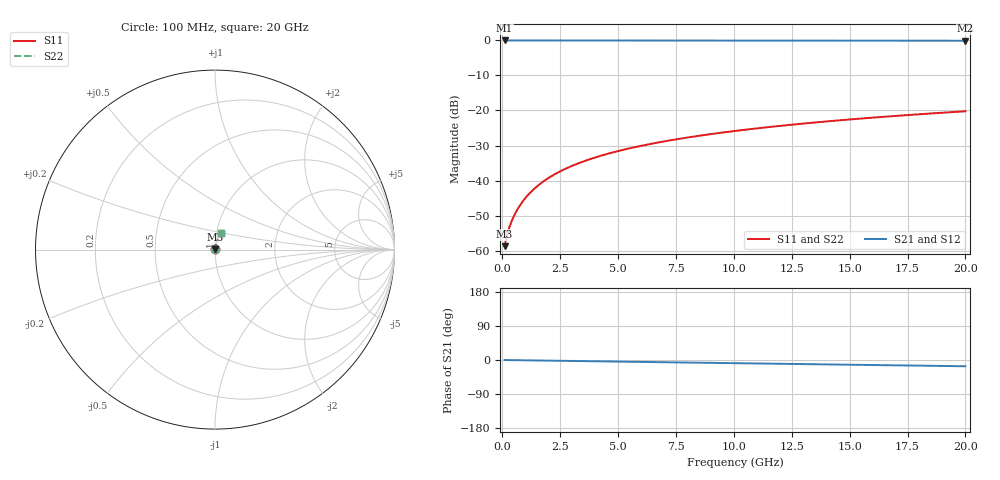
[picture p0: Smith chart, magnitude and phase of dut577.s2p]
! Touchstone file exported from HFSS 2026.1.0
!  File:  C:/ffzhzh/LocalFiles/Ansys_Project_Files/temp_train_BSMRDL_577_1783015630_46388.aedt
!  Generated:  02:08:27 AM Jul  3, 2026
!  Design:  BSMRDL
!  Project:  temp_train_BSMRDL_577_1783015630_46388
! Variables:
!  h_bsmrdl = 4.22um
!  h_ox = 20um
!  h_rdl = 5um
!  h_sub = 80um
!  h_tmrdl = 5um
!  h_tsv = 80um
!  h_via = 3um
!  l_bsmrdl = 249.43um
!  l_sub = 649.43um
!  l_tmrdl = 200um
!  m_sub = 200um
!  pitch = 43.42um
!  r_tsv = 6um
!  s_tmrdl = 10um
!  w_bsmrdl = 29.83um
!  w_sub = 500um
!  w_tmrdl = 12um
!  x_tsv_center1 = 206um
!  x_tsv_center2 = 485.26um
!  x_tsv_center3 = 697.26um
!  x_tsv_center4 = 976.52um
!  x_tsv_center5 = 1188.52um
!  x_tsv_center6 = 1467.78um
# GHz S MA R 50.000000
! Terminal data exported
! Port[1] = BSM_RDL1_1_T1
! Port[2] = BSM_RDL1_1_T2
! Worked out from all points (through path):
!   200 points, 100 MHz to 20 GHz, reference 50 ohm
!   highest |S21| = -0.01 dB at 100 MHz (marker M1); lowest = -0.1 dB at 20 GHz (marker M2)
!   group delay of S21, straight-line fit = 2.29 ps
!   lowest |S11| = -58.7 dB at 100 MHz (marker M3), VSWR 1.00, Z = 50.1 + j0.0677 ohm
!   |S11| at or under -10 dB: start of sweep to end of sweep
!   |S22| runs from -58.7 to -20.2 dB; largest |S21 - S12| = 3.1e-15
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0.1  0.001158 35.7  0.9991 -0.1  0.9991 -0.1  0.001158 35.7
! Gamma 0 0 0 0
! Port Impedance 50 0 50 0
0.2  0.001644 50.5  0.999 -0.2  0.999 -0.2  0.001644 50.5
0.3  0.002132 58.0  0.9989 -0.3  0.9989 -0.3  0.002132 58.0
0.4  0.002617 63.0  0.9988 -0.4  0.9988 -0.4  0.002617 63.0
0.5  0.003106 66.6  0.9988 -0.4  0.9988 -0.4  0.003106 66.6
0.6  0.003603 69.4  0.9987 -0.5  0.9987 -0.5  0.003603 69.4
0.8  0.004619 73.2  0.9987 -0.7  0.9987 -0.7  0.004619 73.2
1.1  0.006176 76.6  0.9986 -0.9  0.9986 -0.9  0.006176 76.6
1.3  0.007225 78.0  0.9986 -1.1  0.9986 -1.1  0.007225 78.0
1.6  0.008806 79.3  0.9985 -1.4  0.9985 -1.4  0.008806 79.3
2.1  0.01144 80.4  0.9984 -1.8  0.9984 -1.8  0.01144 80.4
2.7  0.01459 81.0  0.9982 -2.3  0.9982 -2.3  0.01459 81.0
3.5  0.01874 81.0  0.9979 -3.0  0.9979 -3.0  0.01874 81.0
4.2  0.02232 80.8  0.9976 -3.6  0.9976 -3.6  0.02232 80.8
5  0.02636 80.5  0.9972 -4.2  0.9972 -4.2  0.02636 80.5
5.9  0.03086 80.0  0.9968 -5.0  0.9968 -5.0  0.03086 80.0
6.8  0.0353 79.4  0.9964 -5.7  0.9964 -5.7  0.0353 79.4
8.3  0.04262 78.5  0.9957 -7.0  0.9957 -7.0  0.04262 78.5
10.1  0.0513 77.3  0.9949 -8.4  0.9949 -8.4  0.0513 77.3
13.4  0.06698 75.1  0.9933 -11.2  0.9933 -11.2  0.06698 75.1
16.7  0.08239 72.7  0.9917 -13.9  0.9917 -13.9  0.08238 72.7
20  0.09748 70.3  0.9898 -16.5  0.9898 -16.5  0.09748 70.3
